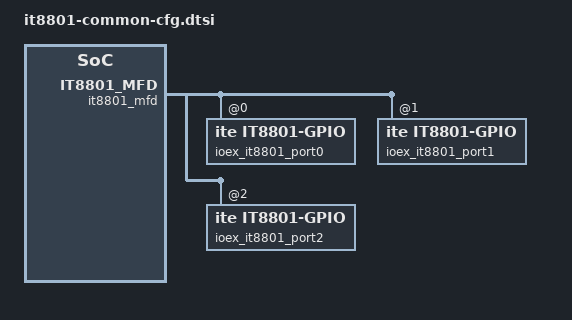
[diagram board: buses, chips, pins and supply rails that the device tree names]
/*
 * Copyright (c) 2024 ITE Corporation. All Rights Reserved.
 *
 * SPDX-License-Identifier: Apache-2.0
 */

#include <ite/it8801-mfd-map.dtsi>

&it8801_mfd {
	#address-cells = <1>;
	#size-cells = <1>;

	/* GPIO */
	ioex_it8801_port0: it8801_port@0 {
		compatible = "ite,it8801-gpio";
		reg = <0x00 1   /* GPIPSR */
		       0x05 1   /* GPSOVR */
		       0x0a 8   /* GPCR */
		       0x32 1   /* GPISR */
		       0x37 1>; /* GPIER */
		gpio-controller;
		#gpio-cells = <2>;
		ngpios = <8>;
		pin-mask = <0xdb>;
	};

	ioex_it8801_port1: it8801_port@1 {
		compatible = "ite,it8801-gpio";
		reg = <0x01 1   /* GPIPSR */
		       0x06 1   /* GPSOVR */
		       0x12 6   /* GPCR */
		       0x33 1   /* GPISR */
		       0x38 1>; /* GPIER */
		gpio-controller;
		#gpio-cells = <2>;
		ngpios = <6>;
		pin-mask = <0x3f>;
	};

	ioex_it8801_port2: it8801_port@2 {
		compatible = "ite,it8801-gpio";
		reg = <0x02 1   /* GPIPSR */
		       0x07 1   /* GPSOVR */
		       0x1a 4   /* GPCR */
		       0x34 1   /* GPISR */
		       0x39 1>; /* GPIER */
		gpio-controller;
		#gpio-cells = <2>;
		ngpios = <4>;
		pin-mask = <0x0f>;
	};

	/* KBD */
	ioex_it8801_kbd: it8801_kbd@40 {
		compatible = "ite,it8801-kbd";
		status = "disabled";
		reg = <0x40 1
		       0x41 1
		       0x42 1
		       0x43 1>;
		row-size = <8>;
		col-size = <13>;
	};

	/* PWM */
	ioex_it8801_pwm1: it8801_pwm@60 {
		compatible = "ite,it8801-pwm";
		status = "disabled";
		reg = <0x60 1   /* PWMMCR */
		       0x64 1   /* PWMDCR */
		       0x66 1   /* PWMPRSL */
		       0x67 1>; /* PWMPRSM */
		mfdctrl = <&pwm1_gp12_default>;
		channel = <1>;
		#pwm-cells = <3>;
	};

	ioex_it8801_pwm2: it8801_pwm@68 {
		compatible = "ite,it8801-pwm";
		status = "disabled";
		reg = <0x68 1   /* PWMMCR */
		       0x6c 1   /* PWMDCR */
		       0x6e 1   /* PWMPRSL */
		       0x6f 1>; /* PWMPRSM */
		mfdctrl = <&pwm2_gp13_default>;
		channel = <2>;
		#pwm-cells = <3>;
	};

	ioex_it8801_pwm3: it8801_pwm@70 {
		compatible = "ite,it8801-pwm";
		status = "disabled";
		reg = <0x70 1   /* PWMMCR */
		       0x74 1   /* PWMDCR */
		       0x76 1   /* PWMPRSL */
		       0x77 1>; /* PWMPRSM */
		mfdctrl = <&pwm3_gp14_default>;
		channel = <3>;
		#pwm-cells = <3>;
	};

	ioex_it8801_pwm4: it8801_pwm@78 {
		compatible = "ite,it8801-pwm";
		status = "disabled";
		reg = <0x78 1   /* PWMMCR */
		       0x7c 1   /* PWMDCR */
		       0x7e 1   /* PWMPRSL */
		       0x7f 1>; /* PWMPRSM */
		mfdctrl = <&pwm4_gp15_default>;
		channel = <4>;
		#pwm-cells = <3>;
	};

	ioex_it8801_pwm7: it8801_pwm@90 {
		compatible = "ite,it8801-pwm";
		status = "disabled";
		reg = <0x90 1   /* PWMMCR */
		       0x94 1   /* PWMDCR */
		       0x96 1   /* PWMPRSL */
		       0x97 1>; /* PWMPRSM */
		mfdctrl = <&pwm7_gp20_default>;
		channel = <7>;
		#pwm-cells = <3>;

	};

	ioex_it8801_pwm8: it8801_pwm@98 {
		compatible = "ite,it8801-pwm";
		status = "disabled";
		reg = <0x98 1   /* PWMMCR */
		       0x9c 1   /* PWMDCR */
		       0x9e 1   /* PWMPRSL */
		       0x9f 1>; /* PWMPRSM */
		mfdctrl = <&pwm8_gp23_default>;
		channel = <8>;
		#pwm-cells = <3>;
	};

	ioex_it8801_pwm9: it8801_pwm@a0 {
		compatible = "ite,it8801-pwm";
		status = "disabled";
		reg = <0xa0 1   /* PWMMCR */
		       0xa4 1   /* PWMDCR */
		       0xa6 1   /* PWMPRSL */
		       0xa7 1>; /* PWMPRSM */
		mfdctrl = <&pwm9_gp22_default>;
		channel = <9>;
		#pwm-cells = <3>;
	};
};
